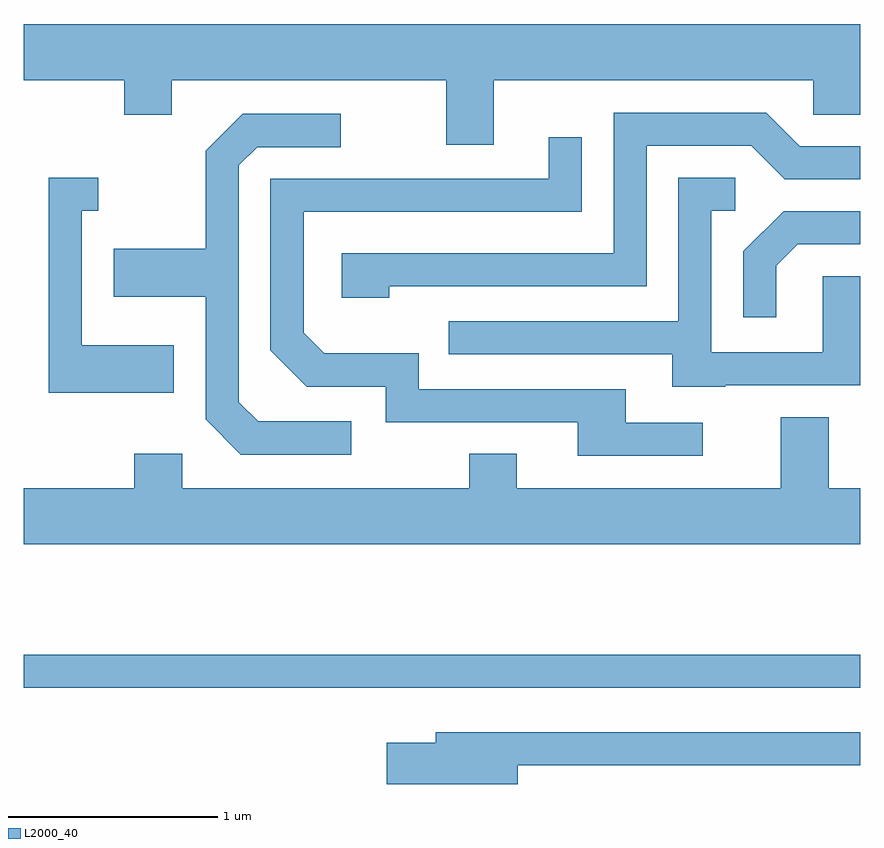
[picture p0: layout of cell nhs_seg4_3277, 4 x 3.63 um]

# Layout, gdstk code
import gdstk
lib = gdstk.Library(unit=1e-6, precision=1e-09)
def R(c, l, rs):  # rectangles x0, y0, x1, y1
    for r in rs: c.add(gdstk.rectangle(r[:2], r[2:], *l))
def P(c, l, *ps):  # polygons
    for p in ps: c.add(gdstk.Polygon(p, *l))
L2000_40 = (2000, 40)

nhs_seg4_3277 = lib.new_cell('nhs_seg4_3277')
R(nhs_seg4_3277, L2000_40, [(281.611,1280.731,285.611,1280.889)])
P(nhs_seg4_3277, L2000_40, [(283.859,1283.636),(285.386,1283.636),(285.386,1283.471),(285.611,1283.471),(285.611,1283.904),(281.611,1283.904),(281.611,1283.636),(282.091,1283.636),(282.091,1283.471),(282.319,1283.471),(282.319,1283.636),(283.631,1283.636),(283.631,1283.326),(283.859,1283.326)],
  [(283.359,1282.651),(284.589,1282.651),(284.589,1283.321),(285.089,1283.321),(285.249,1283.161),(285.611,1283.161),(285.611,1283.319),(285.322,1283.319),(285.162,1283.479),(284.431,1283.479),(284.431,1282.809),(283.131,1282.809),(283.131,1282.596),(283.359,1282.596)],
  [(283.178,1282.004),(282.732,1282.004),(282.639,1282.097),(282.639,1283.229),(282.727,1283.316),(283.128,1283.316),(283.128,1283.474),(282.659,1283.474),(282.481,1283.297),(282.481,1282.829),(282.041,1282.829),(282.041,1282.601),(282.481,1282.601),(282.481,1282.014),(282.649,1281.846),(283.178,1281.846)],
  [(284.858,1281.999),(284.489,1281.999),(284.489,1282.159),(283.499,1282.159),(283.499,1282.329),(283.047,1282.329),(282.949,1282.427),(282.949,1283.006),(284.279,1283.006),(284.279,1283.363),(284.121,1283.363),(284.121,1283.164),(282.791,1283.164),(282.791,1282.344),(282.964,1282.171),(283.341,1282.171),(283.341,1282.001),(284.261,1282.001),(284.261,1281.841),(284.858,1281.841)],
  [(284.965,1282.176),(285.611,1282.176),(285.611,1282.699),(285.431,1282.699),(285.431,1282.334),(284.899,1282.334),(284.899,1283.011),(285.013,1283.011),(285.013,1283.169),(284.741,1283.169),(284.741,1282.484),(283.643,1282.484),(283.643,1282.326),(284.711,1282.326),(284.711,1282.171),(284.965,1282.171)],
  [(282.329,1282.369),(281.889,1282.369),(281.889,1283.011),(281.968,1283.011),(281.968,1283.169),(281.731,1283.169),(281.731,1282.141),(282.329,1282.141)],
  [(285.209,1282.749),(285.312,1282.851),(285.611,1282.851),(285.611,1283.009),(285.244,1283.009),(285.051,1282.817),(285.051,1282.503),(285.209,1282.503)],
  [(285.611,1281.684),(285.459,1281.684),(285.459,1282.024),(285.231,1282.024),(285.231,1281.684),(283.969,1281.684),(283.969,1281.849),(283.741,1281.849),(283.741,1281.684),(282.369,1281.684),(282.369,1281.849),(282.141,1281.849),(282.141,1281.684),(281.611,1281.684),(281.611,1281.416),(285.611,1281.416)],
  [(283.974,1280.361),(285.611,1280.361),(285.611,1280.519),(283.581,1280.519),(283.581,1280.469),(283.346,1280.469),(283.346,1280.271),(283.974,1280.271)])

lib.write_gds('nhs_seg4_3277.gds')
